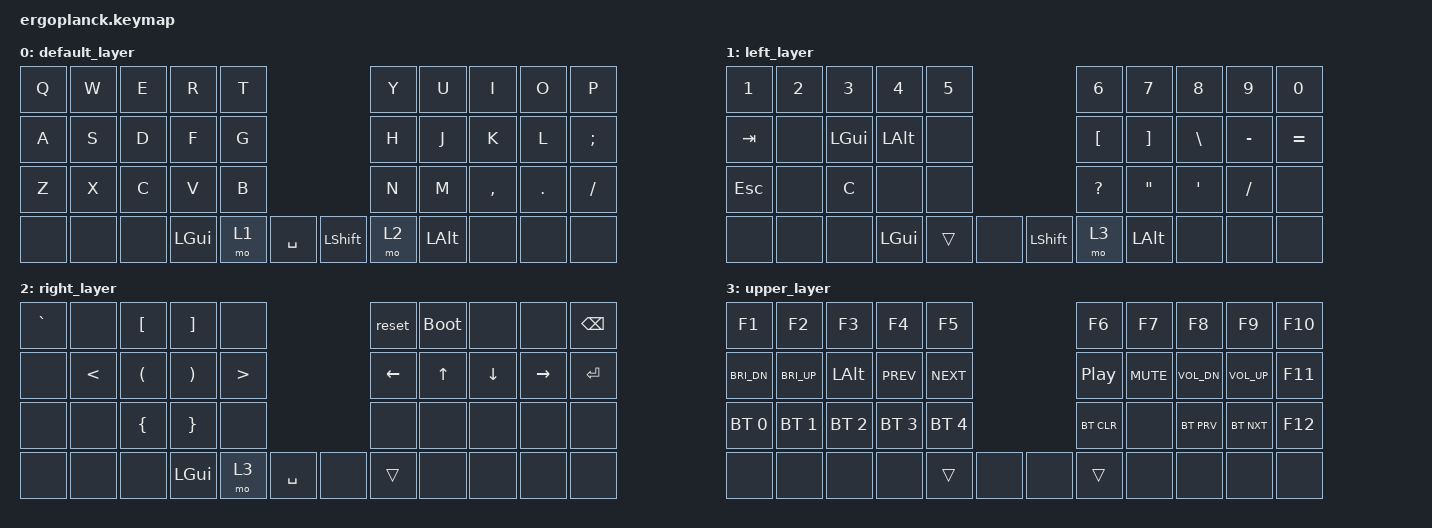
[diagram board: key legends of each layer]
#include <behaviors.dtsi>
#include <dt-bindings/zmk/keys.h>
#include <dt-bindings/zmk/bt.h>

/ {

    keymap {
        compatible = "zmk,keymap";

        default_layer {
// --------------------------------------------------------------------------------------------------------------------------------------------------------------------
// |    Q    |    W    |    E    |    R    |    T    |                   |    Y    |    U    |    I    |    O    |    P    |
// |    A    |    S    |    D    |    F    |    G    |                   |    H    |    J    |    K    |    L    |    ;    |
// |    Z    |    X    |    C    |    V    |    B    |                   |    N    |    M    |    ,    |    .    |    /    |
// |         |         |         |   CMD   |  LEFT   |  SPACE  |  LSHFT  |  RIGHT  |   ALT   |         |         |         |
            bindings = <
    &kp Q     &kp W    &kp E     &kp R     &kp T                               &kp Y     &kp U     &kp I      &kp O     &kp P    
    &kp A     &kp S    &kp D     &kp F     &kp G                               &kp H     &kp J     &kp K      &kp L     &kp SEMI 
    &kp Z     &kp X    &kp C     &kp V     &kp B                               &kp N     &kp M     &kp COMMA  &kp DOT   &kp FSLH
    &none     &none    &none     &kp LGUI  &mo 1   &kp SPACE    &kp LSHFT      &mo 2     &kp LALT  &none      &none     &none 
            >;

        };

        left_layer {
// --------------------------------------------------------------------------------------------------------------------------------------------------------------------
// |    1    |    2    |    3    |    4    |    5    |                   |    6    |    7    |    8    |    9    |    0    |
// |   TAB   |         |   CMD   |   ALT   |         |                   |    [    |    ]    |    \    |    -    |    =    |
// |   ESC   |         |  ctrlC  |         |         |                   |    ?    |    "    |    '    |    /    |         |
// |         |         |         |   CMD   |         |         |  LSHFT  |         |   ALT   |         |         |         |
            bindings = <
    &kp N1    &kp N2   &kp N3    &kp N4    &kp N5                              &kp N6     &kp N7     &kp N8    &kp N9     &kp N0    
    &kp TAB   &none    &kp LGUI  &kp LALT  &none                               &kp LBKT   &kp RBKT   &kp BSLH  &kp MINUS  &kp EQUAL 
    &kp ESC   &none    &kp C     &none     &none                               &kp QMARK  &kp DQT    &kp SQT   &kp FSLH   &none
    &none     &none    &none     &kp LGUI  &trans      &none    &kp LSHFT      &mo 3      &kp LALT   &none     &none      &none
            >;

        };

        right_layer {
// --------------------------------------------------------------------------------------------------------------------------------------------------------------------
// |    `    |         |    [    |    ]    |         |                   |   RST   |  BOOT   |         |         |  BACKS  |
// |         |    <    |    (    |    )    |    >    |                   |   LEFT  |   UP    |  RIGHT  |   DOWN  |  ENTER  |
// |         |         |    {    |    }    |         |                   |         |         |         |         |         |
// |         |         |         |   CMD   |         |  LSHFT  |         |         |   ALT   |         |         |         |
            bindings = <
    &kp GRAVE &none    &kp LBKT     &kp RBKT     &none                               &reset    &bootloader  &none     &none      &kp BSPC    
    &none     &kp LT   &kp LPAR     &kp RPAR     &kp GT                              &kp LEFT  &kp UP       &kp DOWN  &kp RIGHT  &kp RET 
    &none     &none    &kp LBRC     &kp RBRC     &none                               &none     &none        &none     &none      &none
    &none     &none    &none        &kp LGUI     &mo 3    &kp SPACE    &none         &trans    &none        &none     &none      &none
            >;

        };

        upper_layer {
// --------------------------------------------------------------------------------------------------------------------------------------------------------------------
// |    F1   |    F2   |    F3   |    F4   |    F5   |                   |    F6   |   F7    |   F8    |    F9   |   F10   |
// |   bdown |  bup    |   ALT   |   prev  |   next  |                   |   play  |   mute  |  vdown  |   vup   |   F11   |
// |   bt1   |    bt2  |   bt3   |    bt4  |    bt5  |                   | btclear |         | btprev  |  btnext |   F12   |
// |         |         |         |         |         |         |         |         |         |         |         |         |
            bindings = <
    &kp F1        &kp F2        &kp F3        &kp F4        &kp F5                            &kp F6      &kp F7      &kp F8        &kp F9        &kp F10    
    &kp C_BRI_DN  &kp C_BRI_UP  &kp LALT      &kp C_PREV    &kp C_NEXT                        &kp C_PP    &kp C_MUTE  &kp C_VOL_DN  &kp C_VOL_UP  &kp F11 
    &bt BT_SEL 0  &bt BT_SEL 1  &bt BT_SEL 2  &bt BT_SEL 3  &bt BT_SEL 4                      &bt BT_CLR  &none       &bt BT_PRV    &bt BT_NXT    &kp F12
    &none         &none         &none         &none         &trans        &none    &none      &trans      &none       &none         &none         &none
            >;

        };

    };

    
        
};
